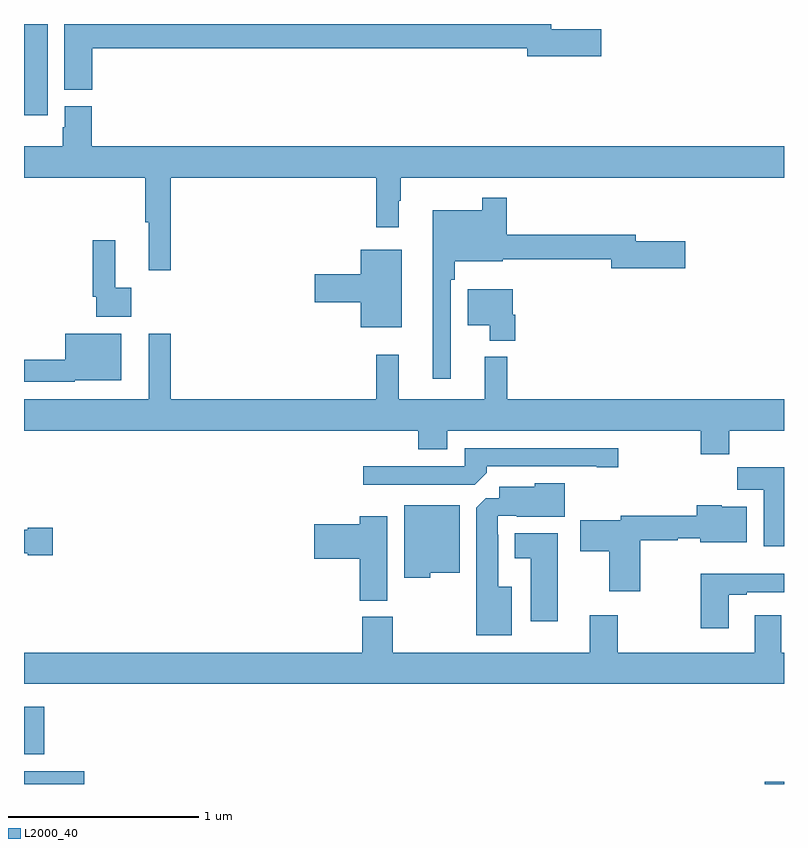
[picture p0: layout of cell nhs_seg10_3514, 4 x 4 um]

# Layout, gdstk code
import gdstk
lib = gdstk.Library(unit=1e-6, precision=1e-09)
def R(c, l, rs):  # rectangles x0, y0, x1, y1
    for r in rs: c.add(gdstk.rectangle(r[:2], r[2:], *l))
def P(c, l, *ps):  # polygons
    for p in ps: c.add(gdstk.Polygon(p, *l))
L2000_40 = (2000, 40)

nhs_seg10_3514 = lib.new_cell('nhs_seg10_3514')
R(nhs_seg10_3514, L2000_40, [(303,1254.5,303.316,1254.567), (306.899,1254.5,307,1254.512), (303,1254.657,303.107,1254.907)])
P(nhs_seg10_3514, L2000_40, [(303.124,1258.5),(303,1258.5),(303,1258.418),(303.002,1258.418),(303.002,1258.02),(303.124,1258.02)],
  [(303.359,1258.372),(305.648,1258.372),(305.648,1258.33),(306.037,1258.33),(306.037,1258.472),(305.776,1258.472),(305.776,1258.5),(303.212,1258.5),(303.212,1258.153),(303.359,1258.153)],
  [(303.773,1257.692),(304.855,1257.692),(304.855,1257.429),(304.972,1257.429),(304.972,1257.569),(304.984,1257.569),(304.984,1257.692),(307,1257.692),(307,1257.856),(303.356,1257.856),(303.356,1258.068),(303.215,1258.068),(303.215,1257.957),(303.203,1257.957),(303.203,1257.856),(303,1257.856),(303,1257.692),(303.637,1257.692),(303.637,1257.456),(303.656,1257.456),(303.656,1257.204),(303.773,1257.204)],
  [(305.247,1257.155),(305.267,1257.155),(305.267,1257.251),(305.521,1257.251),(305.521,1257.262),(306.092,1257.262),(306.092,1257.215),(306.481,1257.215),(306.481,1257.357),(306.22,1257.357),(306.22,1257.391),(305.54,1257.391),(305.54,1257.586),(305.412,1257.586),(305.412,1257.52),(305.15,1257.52),(305.15,1256.634),(305.247,1256.634)],
  [(303.565,1257.113),(303.479,1257.113),(303.479,1257.361),(303.361,1257.361),(303.361,1257.064),(303.381,1257.064),(303.381,1256.96),(303.565,1256.96)],
  [(304.987,1257.313),(304.772,1257.313),(304.772,1257.182),(304.53,1257.182),(304.53,1257.035),(304.772,1257.035),(304.772,1256.903),(304.987,1256.903)],
  [(305.585,1256.97),(305.572,1256.97),(305.572,1257.103),(305.336,1257.103),(305.336,1256.915),(305.45,1256.915),(305.45,1256.834),(305.585,1256.834)],
  [(306.713,1256.36),(307,1256.36),(307,1256.524),(305.543,1256.524),(305.543,1256.749),(305.426,1256.749),(305.426,1256.524),(304.973,1256.524),(304.973,1256.758),(304.855,1256.758),(304.855,1256.524),(303.773,1256.524),(303.773,1256.869),(303.656,1256.869),(303.656,1256.524),(303,1256.524),(303,1256.36),(305.075,1256.36),(305.075,1256.261),(305.227,1256.261),(305.227,1256.36),(306.562,1256.36),(306.562,1256.236),(306.713,1256.236)],
  [(303.267,1256.624),(303.511,1256.624),(303.511,1256.869),(303.218,1256.869),(303.218,1256.732),(303,1256.732),(303,1256.616),(303.267,1256.616)],
  [(305.435,1256.138),(305.435,1256.172),(306.014,1256.172),(306.014,1256.167),(306.127,1256.167),(306.127,1256.268),(305.319,1256.268),(305.319,1256.172),(304.785,1256.172),(304.785,1256.076),(305.373,1256.076)],
  [(307,1256.167),(306.754,1256.167),(306.754,1256.048),(306.893,1256.048),(306.893,1255.752),(307,1255.752)],
  [(305.566,1255.537),(305.497,1255.537),(305.497,1255.811),(305.493,1255.811),(305.493,1255.911),(305.593,1255.911),(305.593,1255.907),(305.845,1255.907),(305.845,1256.083),(305.688,1256.083),(305.688,1256.065),(305.501,1256.065),(305.501,1256.004),(305.43,1256.004),(305.381,1255.955),(305.381,1255.283),(305.566,1255.283)],
  [(306.243,1255.783),(306.44,1255.783),(306.44,1255.794),(306.558,1255.794),(306.558,1255.772),(306.805,1255.772),(306.805,1255.96),(306.672,1255.96),(306.672,1255.966),(306.54,1255.966),(306.54,1255.912),(306.141,1255.912),(306.141,1255.888),(305.928,1255.888),(305.928,1255.726),(306.08,1255.726),(306.08,1255.515),(306.243,1255.515)],
  [(305.139,1255.613),(305.293,1255.613),(305.293,1255.966),(305,1255.966),(305,1255.586),(305.139,1255.586)],
  [(304.912,1255.909),(304.766,1255.909),(304.766,1255.868),(304.527,1255.868),(304.527,1255.685),(304.766,1255.685),(304.766,1255.465),(304.912,1255.465)],
  [(303.151,1255.85),(303.021,1255.85),(303.021,1255.837),(303,1255.837),(303,1255.715),(303.021,1255.715),(303.021,1255.703),(303.151,1255.703)],
  [(305.809,1255.819),(305.582,1255.819),(305.582,1255.688),(305.666,1255.688),(305.666,1255.356),(305.809,1255.356)],
  [(306.709,1255.497),(306.805,1255.497),(306.805,1255.509),(307,1255.509),(307,1255.606),(306.562,1255.606),(306.562,1255.32),(306.709,1255.32)],
  [(307,1255.192),(306.985,1255.192),(306.985,1255.387),(306.845,1255.387),(306.845,1255.192),(306.126,1255.192),(306.126,1255.387),(305.978,1255.387),(305.978,1255.192),(304.941,1255.192),(304.941,1255.38),(304.781,1255.38),(304.781,1255.192),(303,1255.192),(303,1255.028),(307,1255.028)])

lib.write_gds('nhs_seg10_3514.gds')
